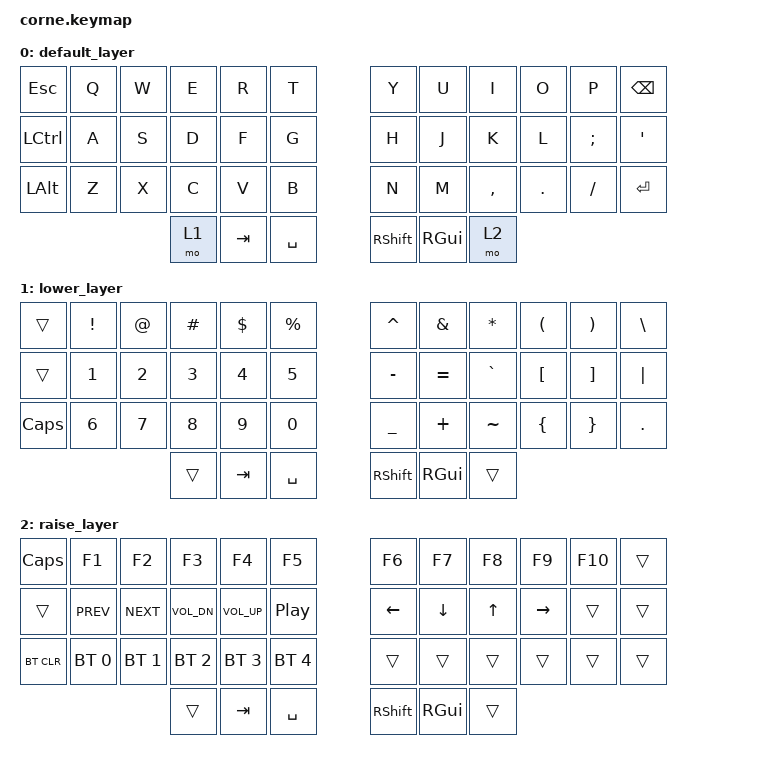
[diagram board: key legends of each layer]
/*
 * Copyright (c) 2020 The ZMK Contributors
 *
 * SPDX-License-Identifier: MIT
 */

#include <behaviors.dtsi>
#include <dt-bindings/zmk/keys.h>
#include <dt-bindings/zmk/bt.h>

/ {
        keymap {
                compatible = "zmk,keymap";

                default_layer {
// -----------------------------------------------------------------------------------------
// | ESC  |  Q  |  W  |  E  |  R  |  T  |   |  Y  |  U   |  I  |  O  |  P  | BKSP |
// | LCTRL |  A  |  S  |  D  |  F  |  G  |   |  H  |  J   |  K  |  L  |  ;  |  '   |
// | LALT |  Z  |  X  |  C  |  V  |  B  |   |  N  |  M   |  ,  |  .  |  /  |ENTER |
//                   | LWR | TAB |SPACE|   | SHIFT | RCTRL | RSE |
                        bindings = <
   &kp ESC   &kp Q &kp W &kp E &kp R &kp T   &kp Y &kp U  &kp I     &kp O   &kp P    &kp BSPC
   &kp LCTRL &kp A &kp S &kp D &kp F &kp G   &kp H &kp J  &kp K     &kp L   &kp SEMI &kp SQT
   &kp LALT &kp Z &kp X &kp C &kp V &kp B   &kp N &kp M  &kp COMMA &kp DOT &kp FSLH &kp ENTER
                  &mo 1 &kp TAB &kp SPACE   &kp RSHIFT &kp RGUI &mo 2
                        >;
                };
                lower_layer {
// -----------------------------------------------------------------------------------------
// |      |  !  |  @  |  #  |  $  |  %  |   |  ^  |  &  |  *  |  (  |  )  |   \  |
// |      |  1  |  2  |  3  |  4  |  5  |   |  -  |  =  |  `  |  [  |  ]  |  "|" |
// | CAPS |  6  |  7  |  8  |  9  |  0  |   |  _  |  +  |  ~  |  {  |  }  |   .  |
//                    |     |    |    |   |     |    |     |
                        bindings = <
   &trans &kp EXCL &kp AT &kp HASH &kp DLLR &kp PRCNT  &kp CARET &kp AMPS &kp ASTRK &kp LPAR &kp RPAR &kp BSLH
   &trans &kp N1 &kp N2 &kp N3 &kp N4 &kp N5   &kp MINUS &kp EQUAL &kp GRAVE &kp LBKT &kp RBKT &kp PIPE
   &kp CAPS &kp N6 &kp N7 &kp N8 &kp N9 &kp N0   &kp UNDER &kp PLUS &kp TILDE &kp LBRC &kp RBRC &kp DOT
                  &trans &kp TAB &kp SPACE   &kp RSHIFT &kp RGUI &trans
                        >;
                };

                raise_layer {
// -----------------------------------------------------------------------------------------
// |      |  F1 |  F2 |  F3 |  F4 |  F5 |   |  F6 |  F7 |  F8 | F9  | F10 |      |
// |      | PREV| NEXT| Vol-| Vol+|PlyPS|   | LEFT| DOWN|  UP |RIGHT|     |      |
// | BTCLR| BT1 | BT2 | BT3 | BT4 | BT5 |   |     |     |     |     |     |      |
//                    |     |     |SPACE|   | SHIFT |     |     |
                        bindings = <
   &kp CAPS &kp F1 &kp F2 &kp F3 &kp F4 &kp F5  &kp F6 &kp F7 &kp F8 &kp F9 &kp F10 &trans
   &trans &kp C_PREV &kp C_NEXT &kp C_VOL_DN &kp C_VOL_UP &kp C_PP   &kp LEFT &kp DOWN &kp UP &kp RIGHT &trans &trans
   &bt BT_CLR &bt BT_SEL 0 &bt BT_SEL 1 &bt BT_SEL 2 &bt BT_SEL 3 &bt BT_SEL 4   &trans &trans &trans &trans &trans &trans
                  &trans &kp TAB &kp SPACE   &kp RSHIFT &kp RGUI &trans
                        >;
                };
        };
};
